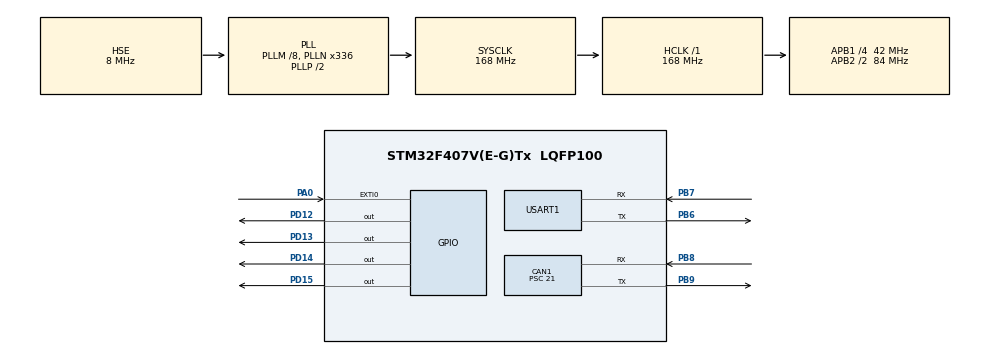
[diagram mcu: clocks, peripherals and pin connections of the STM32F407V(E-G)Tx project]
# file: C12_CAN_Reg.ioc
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CAN1.BS1=CAN_BS1_12TQ
CAN1.BS2=CAN_BS2_2TQ
CAN1.CalculateTimeQuantum=500.0
CAN1.Prescaler=21
Mcu.Family=STM32F4
Mcu.Name=STM32F407V(E-G)Tx
Mcu.Package=LQFP100
NVIC.CAN1_RX0_IRQn=true\:0\:2\:false\:false\:true\:true\:true
NVIC.EXTI0_IRQn=true\:0\:1\:false\:false\:true\:true\:true
NVIC.PriorityGroup=NVIC_PRIORITYGROUP_0
PA0-WKUP.Signal=GPXTI0
PB6.Mode=Asynchronous
PB6.Signal=USART1_TX
PB7.Mode=Asynchronous
PB7.Signal=USART1_RX
PB8.Mode=Master
PB8.Signal=CAN1_RX
PB9.Mode=Master
PB9.Signal=CAN1_TX
PD12.Signal=GPIO_Output
PD13.Signal=GPIO_Output
PD14.Signal=GPIO_Output
PD15.Signal=GPIO_Output
PH0-OSC_IN.Mode=HSE-External-Oscillator
PH0-OSC_IN.Signal=RCC_OSC_IN
PH1-OSC_OUT.Mode=HSE-External-Oscillator
PH1-OSC_OUT.Signal=RCC_OSC_OUT
ProjectManager.HeapSize=0x200
ProjectManager.StackSize=0x400
ProjectManager.TargetToolchain=EWARM V8.32
RCC.48MHZClocksFreq_Value=48000000
RCC.AHBFreq_Value=168000000
RCC.APB1CLKDivider=RCC_HCLK_DIV4
RCC.APB1Freq_Value=42000000
RCC.APB1TimFreq_Value=84000000
RCC.APB2CLKDivider=RCC_HCLK_DIV2
RCC.APB2Freq_Value=84000000
RCC.APB2TimFreq_Value=168000000
RCC.CortexFreq_Value=168000000
RCC.HCLKFreq_Value=168000000
RCC.HSE_VALUE=8000000
RCC.HSI_VALUE=16000000
RCC.LSE_VALUE=32768
RCC.PLLM=8
RCC.PLLN=336
RCC.PLLQ=7
RCC.PLLSourceVirtual=RCC_PLLSOURCE_HSE
RCC.SYSCLKFreq_VALUE=168000000
RCC.SYSCLKSource=RCC_SYSCLKSOURCE_PLLCLK
RCC.VCOOutputFreq_Value=336000000
USART1.VirtualMode=VM_ASYNC
board=STM32F407G-DISC1

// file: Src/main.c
/* USER CODE BEGIN Header */
/**
  ******************************************************************************
  * @file           : main.c
  * @brief          : Main program body
  ******************************************************************************
  * @attention
  *
  * <h2><center>&copy; Copyright (c) 2020 STMicroelectronics.
  * All rights reserved.</center></h2>
  *
  * This software component is licensed by ST under BSD 3-Clause license,
  * the "License"; You may not use this file except in compliance with the
  * License. You may obtain a copy of the License at:
  *                        opensource.org/licenses/BSD-3-Clause
  *
  ******************************************************************************
  */
/* USER CODE END Header */

#include "main.h"

/* USER CODE BEGIN Includes */
#include "stdio.h"
/* USER CODE END Includes */

CAN_HandleTypeDef hcan1;

UART_HandleTypeDef huart1;

/* USER CODE BEGIN PV */
uint8_t t,r;
/* USER CODE END PV */

void SystemClock_Config(void);
static void MX_GPIO_Init(void);
static void MX_CAN1_Init(void);
static void MX_USART1_UART_Init(void);
/* USER CODE BEGIN PFP */
//Transmission function
void CAN_Tx(uint8_t data)
{
  CAN1->sTxMailBox[0].TDLR=data;
  CAN1->sTxMailBox[0].TIR|=1;
}
//Reception function
uint8_t CAN_Rx(void)
{
  while(!CAN1->RF0R&3);
  uint8_t RxD=CAN1->sFIFOMailBox[0].RDLR;
  CAN1->RF0R|=1<<5;
  return RxD;
}

/* USER CODE END PFP */

int main(void)
{

  /* MCU Configuration--------------------------------------------------------*/

  /* Reset of all peripherals, Initializes the Flash interface and the Systick. */
  HAL_Init();

  /* Configure the system clock */
  SystemClock_Config();

  /* Initialize all configured peripherals */
  MX_GPIO_Init();
  MX_CAN1_Init();
  MX_USART1_UART_Init();
  /* USER CODE BEGIN 2 */

  CAN1->sTxMailBox[0].TIR=0;
  CAN1->sTxMailBox[0].TIR=0x01<<21;//Own Identifier
  CAN1->sTxMailBox[0].TDTR=1;

  CAN1->FMR|=1<<0;
  CAN1->FMR|=14<<8;
  CAN1->FA1R&=~(1<<0);
  CAN1->FS1R|=1<<0;
  CAN1->sFilterRegister[0].FR1=0x02<<21;//Accepted correspondent Identifier
  CAN1->FM1R|=1<<0;
  CAN1->FA1R|=1<<0;
  CAN1->FMR&=~(1<<0);

  CAN1->IER|=1<<1;
  CAN1->MCR&=~(1<<0);
  while (!CAN1->MSR&(1<<0));

  /* USER CODE END 2 */

  /* Infinite loop */
  /* USER CODE BEGIN WHILE */
  while (1)
  {
    t++;
    CAN_Tx(t);
    HAL_Delay(500);
    /* USER CODE END WHILE */

  }
}

void SystemClock_Config(void)
{
  RCC_OscInitTypeDef RCC_OscInitStruct = {0};
  RCC_ClkInitTypeDef RCC_ClkInitStruct = {0};

  /** Configure the main internal regulator output voltage
  */
  __HAL_RCC_PWR_CLK_ENABLE();
  __HAL_PWR_VOLTAGESCALING_CONFIG(PWR_REGULATOR_VOLTAGE_SCALE1);
  /** Initializes the CPU, AHB and APB busses clocks
  */
  RCC_OscInitStruct.OscillatorType = RCC_OSCILLATORTYPE_HSE;
  RCC_OscInitStruct.HSEState = RCC_HSE_ON;
  RCC_OscInitStruct.PLL.PLLState = RCC_PLL_ON;
  RCC_OscInitStruct.PLL.PLLSource = RCC_PLLSOURCE_HSE;
  RCC_OscInitStruct.PLL.PLLM = 8;
  RCC_OscInitStruct.PLL.PLLN = 336;
  RCC_OscInitStruct.PLL.PLLP = RCC_PLLP_DIV2;
  RCC_OscInitStruct.PLL.PLLQ = 7;
  if (HAL_RCC_OscConfig(&RCC_OscInitStruct) != HAL_OK)
  {
    Error_Handler();
  }
  /** Initializes the CPU, AHB and APB busses clocks
  */
  RCC_ClkInitStruct.ClockType = RCC_CLOCKTYPE_HCLK|RCC_CLOCKTYPE_SYSCLK
                              |RCC_CLOCKTYPE_PCLK1|RCC_CLOCKTYPE_PCLK2;
  RCC_ClkInitStruct.SYSCLKSource = RCC_SYSCLKSOURCE_PLLCLK;
  RCC_ClkInitStruct.AHBCLKDivider = RCC_SYSCLK_DIV1;
  RCC_ClkInitStruct.APB1CLKDivider = RCC_HCLK_DIV4;
  RCC_ClkInitStruct.APB2CLKDivider = RCC_HCLK_DIV2;

  if (HAL_RCC_ClockConfig(&RCC_ClkInitStruct, FLASH_LATENCY_5) != HAL_OK)
  {
    Error_Handler();
  }
}

static void MX_CAN1_Init(void)
{

  hcan1.Instance = CAN1;
  hcan1.Init.Prescaler = 21;
  hcan1.Init.Mode = CAN_MODE_NORMAL;
  hcan1.Init.SyncJumpWidth = CAN_SJW_1TQ;
  hcan1.Init.TimeSeg1 = CAN_BS1_12TQ;
  hcan1.Init.TimeSeg2 = CAN_BS2_2TQ;
  hcan1.Init.TimeTriggeredMode = DISABLE;
  hcan1.Init.AutoBusOff = DISABLE;
  hcan1.Init.AutoWakeUp = DISABLE;
  hcan1.Init.AutoRetransmission = DISABLE;
  hcan1.Init.ReceiveFifoLocked = DISABLE;
  hcan1.Init.TransmitFifoPriority = DISABLE;
  if (HAL_CAN_Init(&hcan1) != HAL_OK)
  {
    Error_Handler();
  }

}

static void MX_USART1_UART_Init(void)
{

  huart1.Instance = USART1;
  huart1.Init.BaudRate = 115200;
  huart1.Init.WordLength = UART_WORDLENGTH_8B;
  huart1.Init.StopBits = UART_STOPBITS_1;
  huart1.Init.Parity = UART_PARITY_NONE;
  huart1.Init.Mode = UART_MODE_TX_RX;
  huart1.Init.HwFlowCtl = UART_HWCONTROL_NONE;
  huart1.Init.OverSampling = UART_OVERSAMPLING_16;
  if (HAL_UART_Init(&huart1) != HAL_OK)
  {
    Error_Handler();
  }

}

static void MX_GPIO_Init(void)
{
  GPIO_InitTypeDef GPIO_InitStruct = {0};

  /* GPIO Ports Clock Enable */
  __HAL_RCC_GPIOH_CLK_ENABLE();
  __HAL_RCC_GPIOA_CLK_ENABLE();
  __HAL_RCC_GPIOD_CLK_ENABLE();
  __HAL_RCC_GPIOB_CLK_ENABLE();

  /*Configure GPIO pin Output Level */
  HAL_GPIO_WritePin(GPIOD, GPIO_PIN_12|GPIO_PIN_13|GPIO_PIN_14|GPIO_PIN_15, GPIO_PIN_RESET);

  /*Configure GPIO pin : PA0 */
  GPIO_InitStruct.Pin = GPIO_PIN_0;
  GPIO_InitStruct.Mode = GPIO_MODE_IT_RISING;
  GPIO_InitStruct.Pull = GPIO_NOPULL;
  HAL_GPIO_Init(GPIOA, &GPIO_InitStruct);

  /*Configure GPIO pins : PD12 PD13 PD14 PD15 */
  GPIO_InitStruct.Pin = GPIO_PIN_12|GPIO_PIN_13|GPIO_PIN_14|GPIO_PIN_15;
  GPIO_InitStruct.Mode = GPIO_MODE_OUTPUT_PP;
  GPIO_InitStruct.Pull = GPIO_NOPULL;
  GPIO_InitStruct.Speed = GPIO_SPEED_FREQ_LOW;
  HAL_GPIO_Init(GPIOD, &GPIO_InitStruct);

  /* EXTI interrupt init*/
  HAL_NVIC_SetPriority(EXTI0_IRQn, 0, 1);
  HAL_NVIC_EnableIRQ(EXTI0_IRQn);

}

void Error_Handler(void)
{
}

/************************ (C) COPYRIGHT STMicroelectronics *****END OF FILE****/
